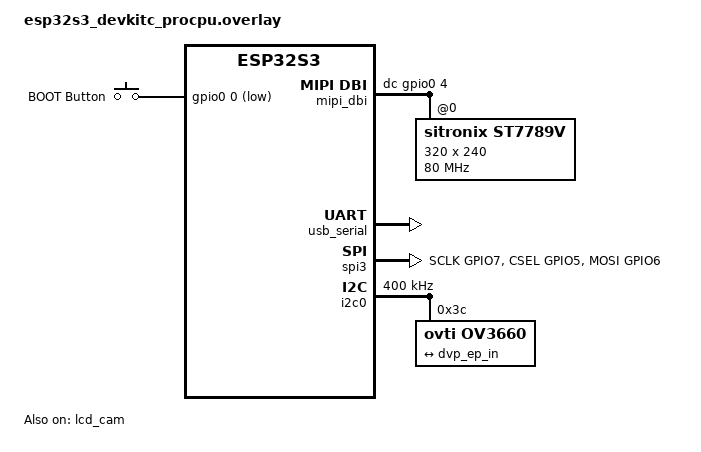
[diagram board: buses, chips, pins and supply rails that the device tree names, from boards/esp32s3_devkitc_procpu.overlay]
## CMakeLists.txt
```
# Camera-only firmware for CHD-ESP32-S3-BOX
#
# Pure live-preview build that omits BT/WiFi/AI so the LCD-CAM peripheral is
# not corrupted. Companion to ../launcher.

cmake_minimum_required(VERSION 3.20.0)
find_package(Zephyr REQUIRED HINTS $ENV{ZEPHYR_BASE})
project(camera)

target_sources(app PRIVATE
	src/main.c
)
```

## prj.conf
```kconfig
# Camera firmware: minimal Video + LVGL + display, NO BT, NO WiFi, NO audio.

# ── Display + LVGL ──
CONFIG_DISPLAY=y
CONFIG_LVGL=y
CONFIG_LV_USE_LOG=n
CONFIG_LV_Z_MEM_POOL_SIZE=65536
CONFIG_LV_Z_VDB_SIZE=50
CONFIG_LV_Z_BITS_PER_PIXEL=16
CONFIG_LV_COLOR_16_SWAP=y
CONFIG_LV_USE_LABEL=y
CONFIG_LV_USE_IMAGE=y
CONFIG_LV_USE_BUTTON=y
CONFIG_LV_FONT_MONTSERRAT_14=y

# ── SPI for LCD ──
CONFIG_SPI=y
CONFIG_MIPI_DBI=y

# ── I2C for OV3660 sensor config ──
CONFIG_I2C=y

# ── GPIO for BOOT button ──
CONFIG_GPIO=y
CONFIG_GPIO_INIT_PRIORITY=40

# ── Video subsystem ──
CONFIG_VIDEO=y
CONFIG_VIDEO_LOG_LEVEL_INF=y
CONFIG_VIDEO_BUFFER_USE_SHARED_MULTI_HEAP=y
CONFIG_VIDEO_BUFFER_SMH_ATTRIBUTE=2
CONFIG_VIDEO_BUFFER_POOL_NUM_MAX=4
CONFIG_VIDEO_BUFFER_POOL_SZ_MAX=153600
CONFIG_VIDEO_ESP32_DMA_BUFFER_MAX_SIZE=4092
CONFIG_VIDEO_OV3660=y
CONFIG_VIDEO_OV3660_COLOR_BAR_TEST=n

# ── DMA for LCD-CAM ──
CONFIG_DMA=y
CONFIG_DMA_ESP32_MAX_DESCRIPTOR_NUM=64

# ── PSRAM (for photo storage + framebuffer) ──
CONFIG_ESP_SPIRAM=y
CONFIG_SHARED_MULTI_HEAP=y
CONFIG_ESP_SPIRAM_HEAP_SIZE=4194304

# ── Logging ──
CONFIG_LOG=y
CONFIG_LOG_DEFAULT_LEVEL=3
CONFIG_PRINTK=y
CONFIG_SERIAL=y

# ── System ──
CONFIG_MAIN_STACK_SIZE=8192
CONFIG_HEAP_MEM_POOL_SIZE=32768
CONFIG_SYSTEM_WORKQUEUE_STACK_SIZE=4096
```

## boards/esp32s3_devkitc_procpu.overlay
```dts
/* Camera firmware DTS overlay for CHD-ESP32-S3-BOX
 *
 * Pure camera build: LCD (ST7789V on SPI3) + LCD-CAM (DVP/OV3660) + I2C0 +
 * BOOT button. NO BT, NO I2S, NO SDMMC.
 */

#include <zephyr/dt-bindings/pinctrl/esp-pinctrl-common.h>
#include <dt-bindings/pinctrl/esp32s3-pinctrl.h>
#include <zephyr/dt-bindings/pinctrl/esp32s3-gpio-sigmap.h>
#include <zephyr/dt-bindings/mipi_dbi/mipi_dbi.h>

/ {
	chosen {
		zephyr,console = &usb_serial;
		zephyr,shell-uart = &usb_serial;
		zephyr,display = &st7789v;
		zephyr,camera = &lcd_cam;
	};

	/* ── LCD: ST7789V 320x240 SPI ── */
	mipi_dbi {
		compatible = "zephyr,mipi-dbi-spi";
		dc-gpios = <&gpio0 4 GPIO_ACTIVE_HIGH>;
		spi-dev = <&spi3>;
		write-only;
		#address-cells = <1>;
		#size-cells = <0>;

		st7789v: st7789v@0 {
			compatible = "sitronix,st7789v";
			mipi-max-frequency = <80000000>;
			reg = <0>;
			width = <320>;
			height = <240>;
			x-offset = <0>;
			y-offset = <0>;
			vcom = <0x19>;
			gctrl = <0x35>;
			vrhs = <0x12>;
			vdvs = <0x20>;
			mdac = <0x60>;
			gamma = <0x01>;
			colmod = <0x55>;
			inversion-off;
			lcm = <0x2c>;
			porch-param = [0c 0c 00 33 33];
			cmd2en-param = [5a 69 02 01];
			pwctrl1-param = [a4 a1];
			pvgam-param = [D0 04 0D 11 13 2B 3F 54 4C 18 0D 0B 1F 23];
			nvgam-param = [D0 04 0C 11 13 2C 3F 44 51 2F 1F 1F 20 23];
			ram-param = [00 F0];
			rgb-param = [CD 08 14];
			mipi-mode = "MIPI_DBI_MODE_SPI_4WIRE";
		};
	};

	/* ── BOOT button (IO0) ── */
	buttons {
		compatible = "gpio-keys";
		boot_button: boot_button {
			gpios = <&gpio0 0 (GPIO_PULL_UP | GPIO_ACTIVE_LOW)>;
			label = "BOOT Button";
		};
	};

	aliases {
		sw0 = &boot_button;
	};
};

&usb_serial {
	status = "okay";
};

&pinctrl {
	spim3_default: spim3_default {
		group1 {
			pinmux = <SPIM3_SCLK_GPIO7>,
				 <SPIM3_CSEL_GPIO5>;
		};
		group2 {
			pinmux = <SPIM3_MOSI_GPIO6>;
			output-low;
		};
	};

	i2c0_default: i2c0_default {
		group1 {
			pinmux = <I2C0_SDA_GPIO8>,
				 <I2C0_SCL_GPIO18>;
			bias-pull-up;
			drive-open-drain;
			output-high;
		};
	};

	lcd_cam_default: lcd_cam_default {
		group1 {
			pinmux = <LCD_CAM_CAM_CLK_GPIO39>;
			output-enable;
		};
		group2 {
			pinmux = <LCD_CAM_V_SYNC_CAM_GPIO42>,
				 <LCD_CAM_H_ENABLE_CAM_GPIO41>,
				 <LCD_CAM_CAM_PCLK_GPIO14>,
				 <LCD_CAM_DATA_IN0_GPIO12>,
				 <LCD_CAM_DATA_IN1_GPIO10>,
				 <LCD_CAM_DATA_IN2_GPIO9>,
				 <LCD_CAM_DATA_IN3_GPIO11>,
				 <LCD_CAM_DATA_IN4_GPIO13>,
				 <LCD_CAM_DATA_IN5_GPIO21>,
				 <LCD_CAM_DATA_IN6_GPIO38>,
				 <LCD_CAM_DATA_IN7_GPIO40>;
			input-enable;
			bias-disable;
		};
	};
};

&spi3 {
	#address-cells = <1>;
	#size-cells = <0>;
	status = "okay";
	pinctrl-0 = <&spim3_default>;
	pinctrl-names = "default";
};

&i2c0 {
	status = "okay";
	clock-frequency = <I2C_BITRATE_FAST>;
	pinctrl-0 = <&i2c0_default>;
	pinctrl-names = "default";

	ov3660: ov3660@3c {
		compatible = "ovti,ov3660";
		reg = <0x3c>;
		status = "okay";

		port {
			ov3660_ep_out: endpoint {
				remote-endpoint = <&dvp_ep_in>;
			};
		};
	};
};

&lcd_cam {
	status = "okay";
	cam-clk = <16000000>;
	pinctrl-0 = <&lcd_cam_default>;
	pinctrl-names = "default";
	source = <&ov3660>;
	dmas = <&dma 2>;
	dma-names = "rx";

	port {
		dvp_ep_in: endpoint {
			remote-endpoint = <&ov3660_ep_out>;
		};
	};
};

&dma {
	status = "okay";
};
```

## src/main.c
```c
/*
 * Camera firmware — Phase 1: live preview only.
 *
 * Direct display_write path (mirrors camera_test sample). LVGL is NOT used
 * for the live preview because LVGL's image rendering produced tearing and
 * byte-order issues on this board. Phase 2 will add a Gallery mode that
 * stops the camera stream and switches to LVGL for browsing photos.
 */

#include <zephyr/kernel.h>
#include <zephyr/device.h>
#include <zephyr/drivers/display.h>
#include <zephyr/drivers/gpio.h>
#include <zephyr/drivers/video.h>
#include <zephyr/sys/printk.h>
#include <string.h>

#define CAM_W        320
#define CAM_H        240
#define CAM_BPP      2
#define CAM_BYTES    (CAM_W * CAM_H * CAM_BPP)
#define CAM_BUF_NUM  2
#define BL_PIN       (47 - 32)            /* IO47 = gpio1.15 */
#define DISP_STACK   4096
#define BTN_STACK    1024

#define MAX_PHOTOS         10
#define LONG_PRESS_MS      1500
#define EXTRA_LONG_PRESS_MS 3000
#define DEBOUNCE_MS        30
#define BANNER_H           8
#define BANNER_BYTES       (CAM_W * BANNER_H * CAM_BPP)

/* PSRAM photo store. Lost on reboot. */
static uint8_t photos[MAX_PHOTOS][CAM_BYTES] __attribute__((section(".ext_ram.bss"), aligned(4)));
static volatile int photo_count;
static volatile bool capture_request;

/* App mode + gallery state. */
enum app_mode { MODE_LIVE, MODE_GALLERY };
static volatile enum app_mode app_mode = MODE_LIVE;
static volatile int gallery_idx;
static volatile bool gallery_delete_request;

/* Pre-filled banner drawn at top of LCD in GALLERY mode. Acts as a
 * progress indicator: divided into photo_count segments, current photo's
 * segment is white, the rest are red. RGB565 BE.
 */
static uint8_t gallery_banner[BANNER_BYTES] __attribute__((aligned(4)));
static void update_banner(int idx, int count)
{
	if (count <= 0) {
		return;
	}
	int seg_w = CAM_W / count;
	if (seg_w == 0) {
		seg_w = 1;
	}
	for (int x = 0; x < CAM_W; x++) {
		int seg = x / seg_w;
		if (seg >= count) {
			seg = count - 1;
		}
		bool active = (seg == idx);
		uint8_t hi = active ? 0xFF : 0xF8;
		uint8_t lo = active ? 0xFF : 0x00;
		for (int y = 0; y < BANNER_H; y++) {
			int p = (y * CAM_W + x) * 2;
			gallery_banner[p]     = hi;
			gallery_banner[p + 1] = lo;
		}
	}
}

static struct video_buffer *frame_buffers[CAM_BUF_NUM];

K_MSGQ_DEFINE(disp_msgq, sizeof(struct video_buffer *), 1, sizeof(void *));
static K_THREAD_STACK_DEFINE(disp_stack, DISP_STACK);
static struct k_thread disp_thread;

struct disp_ctx {
	const struct device *display_dev;
	const struct device *camera_dev;
	struct video_format *fmt;
};

static int blit_frame(const struct device *display_dev,
		      const struct video_buffer *vbuf,
		      const struct video_format *fmt)
{
	struct display_buffer_descriptor desc = {
		.buf_size = vbuf->bytesused,
		.width = fmt->width,
		.pitch = fmt->width,
		.height = vbuf->bytesused / fmt->pitch,
	};
	return display_write(display_dev, 0, vbuf->line_offset, &desc, vbuf->buffer);
}

static void disp_thread_entry(void *p1, void *p2, void *p3)
{
	struct disp_ctx *ctx = p1;
	struct video_buffer *buf;
	int ret;
	enum app_mode last_mode = MODE_LIVE;
	int last_gallery_idx = -1;
	int last_photo_count = -1;

	while (1) {
		ret = k_msgq_get(&disp_msgq, &buf, K_FOREVER);
		if (ret < 0) {
			printk("[Disp] msgq get err %d\n", ret);
			break;
		}

		/* Handle queued delete (long press in gallery). */
		if (gallery_delete_request) {
			gallery_delete_request = false;
			if (photo_count > 0 && gallery_idx >= 0 &&
			    gallery_idx < photo_count) {
				int del = gallery_idx;
				for (int i = del; i < photo_count - 1; i++) {
					memcpy(photos[i], photos[i + 1], CAM_BYTES);
				}
				photo_count--;
				printk("[Photo] deleted #%d (now %d)\n", del, photo_count);
				if (photo_count == 0) {
					app_mode = MODE_LIVE;
					printk("[Mode] gallery empty → LIVE\n");
				} else if (gallery_idx >= photo_count) {
					gallery_idx = photo_count - 1;
				}
			}
		}

		/* Capture (only meaningful in LIVE mode). */
		if (capture_request) {
			capture_request = false;
			if (app_mode == MODE_LIVE && photo_count < MAX_PHOTOS) {
				memcpy(photos[photo_count], buf->buffer, CAM_BYTES);
				photo_count++;
				printk("[Photo] saved #%d (%d/%d)\n",
				       photo_count - 1, photo_count, MAX_PHOTOS);
			} else if (app_mode == MODE_LIVE) {
				printk("[Photo] FULL (%d/%d) — drop\n",
				       photo_count, MAX_PHOTOS);
			}
		}

		if (app_mode == MODE_LIVE) {
			ret = blit_frame(ctx->display_dev, buf, ctx->fmt);
			last_mode = MODE_LIVE;
		} else {
			/* GALLERY: blit current photo. Only re-write the LCD
			 * when the displayed image actually changed (entering
			 * gallery, deleting, switching photo) — saves SPI BW.
			 */
			if (last_mode != MODE_GALLERY ||
			    last_gallery_idx != gallery_idx ||
			    last_photo_count != photo_count) {
				if (photo_count > 0 && gallery_idx >= 0 &&
				    gallery_idx < photo_count) {
					struct display_buffer_descriptor desc = {
						.buf_size = CAM_BYTES,
						.width = ctx->fmt->width,
						.pitch = ctx->fmt->width,
						.height = ctx->fmt->height,
					};
					display_write(ctx->display_dev, 0, 0,
						      &desc, photos[gallery_idx]);
					/* Overlay banner with current segment highlighted. */
					update_banner(gallery_idx, photo_count);
					struct display_buffer_descriptor bdesc = {
						.buf_size = BANNER_BYTES,
						.width = CAM_W,
						.pitch = CAM_W,
						.height = BANNER_H,
					};
					display_write(ctx->display_dev, 0, 0,
						      &bdesc, gallery_banner);
				}
				last_mode = MODE_GALLERY;
				last_gallery_idx = gallery_idx;
				last_photo_count = photo_count;
			}
			ret = 0;
		}
		if (ret < 0) {
			printk("[Disp] write err %d\n", ret);
		}

		ret = video_enqueue(ctx->camera_dev, buf);
		if (ret < 0) {
			printk("[Disp] re-enqueue err %d\n", ret);
			break;
		}
	}
}

/* BOOT button (sw0 = gpio0.0, active low, pull-up). 100 Hz polling.
 * LIVE mode:
 *   - short press     : capture photo to PSRAM
 *   - long press      : enter GALLERY (shows latest photo)
 * GALLERY mode:
 *   - short press     : next photo (wrap around)
 *   - long press      : delete current photo (auto-exit if empty)
 *   - extra-long >3s  : exit GALLERY back to LIVE
 */
static const struct gpio_dt_spec boot_btn = GPIO_DT_SPEC_GET(DT_ALIAS(sw0), gpios);
static K_THREAD_STACK_DEFINE(btn_stack, BTN_STACK);
static struct k_thread btn_thread;

static void btn_thread_entry(void *p1, void *p2, void *p3)
{
	bool was_pressed = false;
	int64_t press_start = 0;

	if (!gpio_is_ready_dt(&boot_btn)) {
		printk("[Btn] not ready\n");
		return;
	}
	gpio_pin_configure_dt(&boot_btn, GPIO_INPUT);
	printk("[Btn] BOOT monitor started\n");

	while (1) {
		bool pressed = gpio_pin_get_dt(&boot_btn) == 1;
		int64_t now = k_uptime_get();

		if (pressed && !was_pressed) {
			press_start = now;
			was_pressed = true;
		} else if (!pressed && was_pressed) {
			int64_t held = now - press_start;
			was_pressed = false;
			if (held < DEBOUNCE_MS) {
				/* glitch */
			} else if (held < LONG_PRESS_MS) {
				/* SHORT */
				if (app_mode == MODE_LIVE) {
					printk("[Btn] short (%lldms) LIVE → capture\n", held);
					capture_request = true;
				} else {
					if (photo_count > 0) {
						gallery_idx = (gallery_idx + 1) % photo_count;
						printk("[Btn] short (%lldms) GAL → next [%d/%d]\n",
						       held, gallery_idx + 1, photo_count);
					}
				}
			} else {
				/* LONG (>=1.5s). LIVE: any long-press → enter gallery.
				 * GALLERY: 1.5–3s = delete, >3s = exit to LIVE.
				 */
				if (app_mode == MODE_LIVE) {
					if (photo_count > 0) {
						gallery_idx = photo_count - 1;
						app_mode = MODE_GALLERY;
						printk("[Btn] long (%lldms) LIVE → GALLERY[%d]\n",
						       held, gallery_idx);
					} else {
						printk("[Btn] long (%lldms) LIVE — no photos\n", held);
					}
				} else if (held < EXTRA_LONG_PRESS_MS) {
					printk("[Btn] long (%lldms) GAL → delete[%d]\n",
					       held, gallery_idx);
					gallery_delete_request = true;
				} else {
					printk("[Btn] xlong (%lldms) GAL → LIVE\n", held);
					app_mode = MODE_LIVE;
				}
			}
		}
		k_msleep(10);
	}
}

int main(void)
{
	const struct device *const camera_dev = DEVICE_DT_GET(DT_CHOSEN(zephyr_camera));
	const struct device *const display_dev = DEVICE_DT_GET(DT_CHOSEN(zephyr_display));
	const struct device *const gpio1 = DEVICE_DT_GET(DT_NODELABEL(gpio1));
	struct video_format fmt = {
		.type = VIDEO_BUF_TYPE_OUTPUT,
		.pixelformat = VIDEO_PIX_FMT_RGB565,
		.width = CAM_W,
		.height = CAM_H,
		.pitch = CAM_W * CAM_BPP,
	};
	static struct disp_ctx ctx;
	struct video_buffer *captured = NULL;
	int ret;

	printk("\n=== CHD-ESP32-S3-BOX Camera firmware ===\n");

	printk("[Boot] no BT, no WiFi — Video only\n");

	if (!device_is_ready(camera_dev) || !device_is_ready(display_dev)) {
		printk("device not ready\n");
		return 0;
	}

	if (device_is_ready(gpio1)) {
		gpio_pin_configure(gpio1, BL_PIN, GPIO_OUTPUT_ACTIVE);
		gpio_pin_set(gpio1, BL_PIN, 1);
	}
	display_blanking_off(display_dev);

	ret = video_set_format(camera_dev, &fmt);
	if (ret < 0) {
		printk("set_format err %d\n", ret);
		return 0;
	}
	ret = video_get_format(camera_dev, &fmt);
	if (ret < 0) {
		printk("get_format err %d\n", ret);
		return 0;
	}

	for (int i = 0; i < CAM_BUF_NUM; i++) {
		frame_buffers[i] = video_buffer_aligned_alloc(
			CAM_BYTES, CONFIG_VIDEO_BUFFER_POOL_ALIGN, K_FOREVER);
		if (!frame_buffers[i]) {
			printk("vbuf alloc %d failed\n", i);
			return 0;
		}
		frame_buffers[i]->type = VIDEO_BUF_TYPE_OUTPUT;
		ret = video_enqueue(camera_dev, frame_buffers[i]);
		if (ret < 0) {
			printk("enqueue %d err %d\n", i, ret);
			return 0;
		}
	}

	ctx.display_dev = display_dev;
	ctx.camera_dev = camera_dev;
	ctx.fmt = &fmt;
	k_thread_create(&disp_thread, disp_stack, DISP_STACK,
			disp_thread_entry, &ctx, NULL, NULL,
			K_PRIO_COOP(7), 0, K_NO_WAIT);
	k_thread_name_set(&disp_thread, "disp");

	k_thread_create(&btn_thread, btn_stack, BTN_STACK,
			btn_thread_entry, NULL, NULL, NULL,
			K_PRIO_PREEMPT(8), 0, K_NO_WAIT);
	k_thread_name_set(&btn_thread, "btn");

	ret = video_stream_start(camera_dev, VIDEO_BUF_TYPE_OUTPUT);
	if (ret < 0) {
		printk("stream_start err %d\n", ret);
		return 0;
	}
	printk("[Cam] stream started\n");

	for (uint32_t frame = 0; ; frame++) {
		ret = video_dequeue(camera_dev, &captured, K_FOREVER);
		if (ret < 0) {
			printk("dequeue err %d\n", ret);
			break;
		}
		if ((frame % 60U) == 0U) {
			printk("[Cam] frame %u\n", frame);
		}
		ret = k_msgq_put(&disp_msgq, &captured, K_FOREVER);
		if (ret < 0) {
			printk("msgq put err %d\n", ret);
			video_enqueue(camera_dev, captured);
		}
	}

	return 0;
}
```
